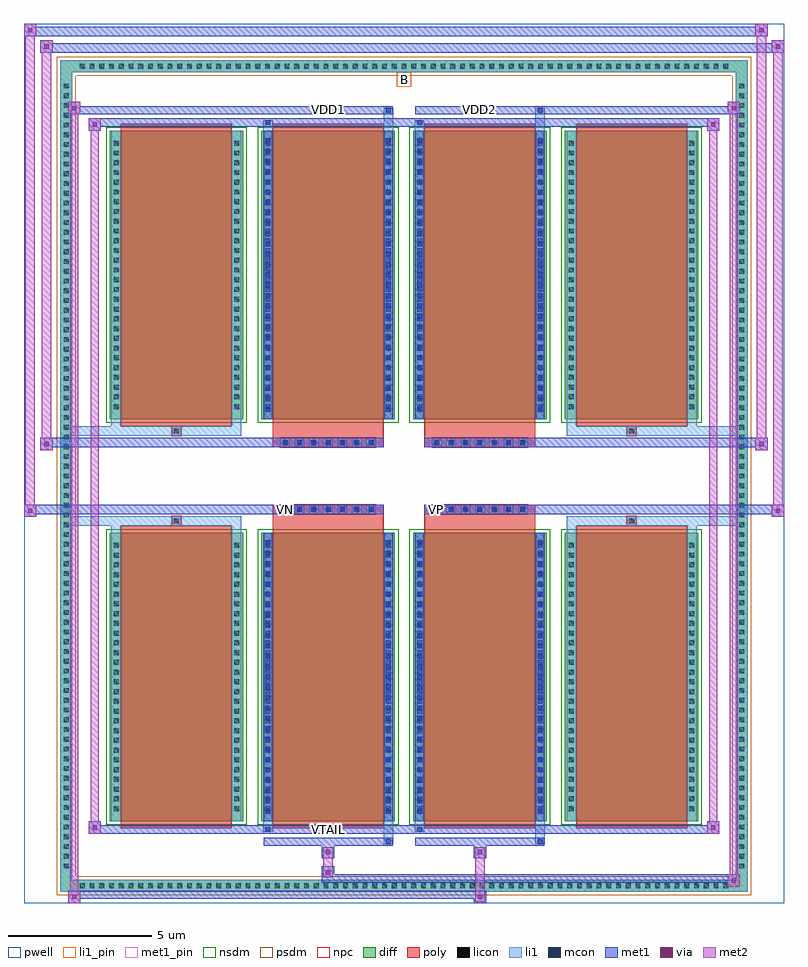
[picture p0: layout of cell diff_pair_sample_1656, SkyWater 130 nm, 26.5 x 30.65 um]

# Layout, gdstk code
import gdstk
lib = gdstk.Library(unit=1e-6, precision=5e-09)
def R(c, l, rs):  # rectangles x0, y0, x1, y1
    for r in rs: c.add(gdstk.rectangle(r[:2], r[2:], *l))
def A(c, l, x, y, w, h, nx, ny, dx, dy):  # array of equal rectangles
    R(c, l, [(x+i*dx, y+j*dy, x+i*dx+w, y+j*dy+h) for i in range(nx) for j in range(ny)])
def P(c, l, *ps):  # polygons
    for p in ps: c.add(gdstk.Polygon(p, *l))
pwell = (64, 44)
diff = (65, 20)
poly = (66, 20)
licon = (66, 44)
li1_pin = (67, 16)
li1 = (67, 20)
mcon = (67, 44)
met1_pin = (68, 16)
met1 = (68, 20)
via = (68, 44)
met2 = (69, 20)
nsdm = (93, 44)
psdm = (94, 20)
npc = (95, 20)

diff_pair_sample_1656 = lib.new_cell('diff_pair_sample_1656')
R(diff_pair_sample_1656, pwell, [(-13.25,-14.89,13.25,15.76), (-10.57,-13.08,-0.01,-0.8), (0.01,-13.08,10.57,-0.8), (-10.57,0.8,-0.01,13.08), (0.01,0.8,10.57,13.08)])
A(diff_pair_sample_1656, diff, -11.425, -14.49, 0.41, 0.41, 67, 2, 0.34, 28.57)
A(diff_pair_sample_1656, diff, -11.98, -13.805, 0.41, 0.41, 1, 81, 0, 0.34)
A(diff_pair_sample_1656, diff, 11.57, -13.805, 0.41, 0.41, 1, 81, 0, 0.34)
A(diff_pair_sample_1656, diff, -10.26, -12.035, 4.65, 10.05, 4, 2, 5.29, 14.02)
R(diff_pair_sample_1656, diff, [(-11.425,-14.49,11.425,-14.08), (-11.98,-13.805,-11.57,13.805), (11.57,-13.805,11.98,13.805), (-11.425,14.08,11.425,14.49)])
P(diff_pair_sample_1656, diff, [(11.98,14.49),(-11.98,14.49),(-11.98,-14.08),(-11.57,-14.08),(-11.57,14.08),(11.57,14.08),(11.57,-14.08),(-11.57,-14.08),(-11.98,-14.08),(-11.98,-14.49),(11.98,-14.49)])
A(diff_pair_sample_1656, poly, -9.87, -12.285, 3.87, 10.55, 4, 2, 5.29, 14.02)
A(diff_pair_sample_1656, poly, -4.31, -1.33, 0.33, 0.33, 7, 2, 0.5, 2.33)
A(diff_pair_sample_1656, poly, 0.98, -1.33, 0.33, 0.33, 7, 2, 0.5, 2.33)
R(diff_pair_sample_1656, poly, [(-8.1,-1.735,-7.77,-1.405), (-8.1,-1.735,-7.77,-1.405), (-4.58,-1.735,-0.71,-1.33), (0.71,-1.735,4.58,-1.33), (7.77,-1.735,8.1,-1.405), (7.77,-1.735,8.1,-1.405), (-4.58,-1.33,-0.71,-1), (0.71,-1.33,4.58,-1), (-4.58,1,-0.71,1.33), (0.71,1,4.58,1.33), (-4.58,1.33,-0.71,1.735), (0.71,1.33,4.58,1.735), (-8.1,1.405,-7.77,1.735), (-8.1,1.405,-7.77,1.735), (7.77,1.405,8.1,1.735), (7.77,1.405,8.1,1.735)])
A(diff_pair_sample_1656, licon, -11.305, -14.37, 0.17, 0.17, 67, 2, 0.34, 28.57)
A(diff_pair_sample_1656, licon, -11.86, -13.685, 0.17, 0.17, 1, 81, 0, 0.34)
A(diff_pair_sample_1656, licon, 11.69, -13.685, 0.17, 0.17, 1, 81, 0, 0.34)
A(diff_pair_sample_1656, licon, -10.12, -11.685, 0.17, 0.17, 1, 28, 0, 0.34)
A(diff_pair_sample_1656, licon, -5.92, -11.685, 0.17, 0.17, 1, 28, 0, 0.34)
A(diff_pair_sample_1656, licon, -4.83, -11.685, 0.17, 0.17, 1, 28, 0, 0.34)
A(diff_pair_sample_1656, licon, -0.63, -11.685, 0.17, 0.17, 1, 28, 0, 0.34)
A(diff_pair_sample_1656, licon, 0.46, -11.685, 0.17, 0.17, 1, 28, 0, 0.34)
A(diff_pair_sample_1656, licon, 4.66, -11.685, 0.17, 0.17, 1, 28, 0, 0.34)
A(diff_pair_sample_1656, licon, 5.75, -11.685, 0.17, 0.17, 1, 28, 0, 0.34)
A(diff_pair_sample_1656, licon, 9.95, -11.685, 0.17, 0.17, 1, 28, 0, 0.34)
A(diff_pair_sample_1656, licon, -4.23, -1.25, 0.17, 0.17, 7, 2, 0.5, 2.33)
A(diff_pair_sample_1656, licon, 1.06, -1.25, 0.17, 0.17, 7, 2, 0.5, 2.33)
A(diff_pair_sample_1656, licon, -10.12, 2.335, 0.17, 0.17, 1, 28, 0, 0.34)
A(diff_pair_sample_1656, licon, -5.92, 2.335, 0.17, 0.17, 1, 28, 0, 0.34)
A(diff_pair_sample_1656, licon, -4.83, 2.335, 0.17, 0.17, 1, 28, 0, 0.34)
A(diff_pair_sample_1656, licon, -0.63, 2.335, 0.17, 0.17, 1, 28, 0, 0.34)
A(diff_pair_sample_1656, licon, 0.46, 2.335, 0.17, 0.17, 1, 28, 0, 0.34)
A(diff_pair_sample_1656, licon, 4.66, 2.335, 0.17, 0.17, 1, 28, 0, 0.34)
A(diff_pair_sample_1656, licon, 5.75, 2.335, 0.17, 0.17, 1, 28, 0, 0.34)
A(diff_pair_sample_1656, licon, 9.95, 2.335, 0.17, 0.17, 1, 28, 0, 0.34)
R(diff_pair_sample_1656, licon, [(-8.02,-1.655,-7.85,-1.485), (7.85,-1.655,8.02,-1.485), (-8.02,1.485,-7.85,1.655), (7.85,1.485,8.02,1.655)])
R(diff_pair_sample_1656, li1_pin, [(-0.25,13.58,0.25,14.08)])
A(diff_pair_sample_1656, li1, -11.385, -14.45, 0.33, 0.33, 67, 2, 0.34, 28.57)
A(diff_pair_sample_1656, li1, -11.94, -13.765, 0.33, 0.33, 1, 81, 0, 0.34)
A(diff_pair_sample_1656, li1, 11.61, -13.765, 0.33, 0.33, 1, 81, 0, 0.34)
A(diff_pair_sample_1656, li1, -4.83, -11.775, 0.17, 0.17, 1, 27, 0, 0.36)
A(diff_pair_sample_1656, li1, -0.63, -11.775, 0.17, 0.17, 1, 27, 0, 0.36)
A(diff_pair_sample_1656, li1, 0.46, -11.775, 0.17, 0.17, 1, 27, 0, 0.36)
A(diff_pair_sample_1656, li1, 4.66, -11.775, 0.17, 0.17, 1, 27, 0, 0.36)
A(diff_pair_sample_1656, li1, -10.2, -11.765, 0.33, 0.33, 1, 28, 0, 0.34)
A(diff_pair_sample_1656, li1, -6, -11.765, 0.33, 0.33, 1, 28, 0, 0.34)
A(diff_pair_sample_1656, li1, -4.91, -11.765, 0.33, 0.33, 1, 28, 0, 0.34)
A(diff_pair_sample_1656, li1, -0.71, -11.765, 0.33, 0.33, 1, 28, 0, 0.34)
A(diff_pair_sample_1656, li1, 0.38, -11.765, 0.33, 0.33, 1, 28, 0, 0.34)
A(diff_pair_sample_1656, li1, 4.58, -11.765, 0.33, 0.33, 1, 28, 0, 0.34)
A(diff_pair_sample_1656, li1, 5.67, -11.765, 0.33, 0.33, 1, 28, 0, 0.34)
A(diff_pair_sample_1656, li1, 9.87, -11.765, 0.33, 0.33, 1, 28, 0, 0.34)
A(diff_pair_sample_1656, li1, -4.31, -1.33, 0.33, 0.33, 7, 2, 0.5, 2.33)
A(diff_pair_sample_1656, li1, 0.98, -1.33, 0.33, 0.33, 7, 2, 0.5, 2.33)
A(diff_pair_sample_1656, li1, -4.83, 2.245, 0.17, 0.17, 1, 27, 0, 0.36)
A(diff_pair_sample_1656, li1, -0.63, 2.245, 0.17, 0.17, 1, 27, 0, 0.36)
A(diff_pair_sample_1656, li1, 0.46, 2.245, 0.17, 0.17, 1, 27, 0, 0.36)
A(diff_pair_sample_1656, li1, 4.66, 2.245, 0.17, 0.17, 1, 27, 0, 0.36)
A(diff_pair_sample_1656, li1, -10.2, 2.255, 0.33, 0.33, 1, 28, 0, 0.34)
A(diff_pair_sample_1656, li1, -6, 2.255, 0.33, 0.33, 1, 28, 0, 0.34)
A(diff_pair_sample_1656, li1, -4.91, 2.255, 0.33, 0.33, 1, 28, 0, 0.34)
A(diff_pair_sample_1656, li1, -0.71, 2.255, 0.33, 0.33, 1, 28, 0, 0.34)
A(diff_pair_sample_1656, li1, 0.38, 2.255, 0.33, 0.33, 1, 28, 0, 0.34)
A(diff_pair_sample_1656, li1, 4.58, 2.255, 0.33, 0.33, 1, 28, 0, 0.34)
A(diff_pair_sample_1656, li1, 5.67, 2.255, 0.33, 0.33, 1, 28, 0, 0.34)
A(diff_pair_sample_1656, li1, 9.87, 2.255, 0.33, 0.33, 1, 28, 0, 0.34)
R(diff_pair_sample_1656, li1, [(-11.98,-14.49,-11.57,-14.08), (-11.98,-14.49,-11.57,-14.08), (-11.57,-14.49,11.57,-14.08), (11.57,-14.49,11.98,-14.08), (11.57,-14.49,11.98,-14.08), (-11.98,-14.08,-11.57,14.08), (11.57,-14.08,11.98,14.08), (-0.71,-12.84,-0.38,-12.035), (-0.63,-12.84,-0.46,-12.67), (4.58,-12.84,4.91,-12.035), (4.66,-12.84,4.83,-12.67), (-4.91,-12.41,-4.58,-12.035), (-4.83,-12.41,-4.66,-12.24), (0.38,-12.41,0.71,-12.035), (0.46,-12.41,0.63,-12.24), (-10.2,-12.035,-9.87,-1.985), (-6,-12.035,-5.67,-1.985), (-4.91,-12.035,-4.58,-1.985), (-0.71,-12.035,-0.38,-1.985), (0.38,-12.035,0.71,-1.985), (4.58,-12.035,4.91,-1.985), (5.67,-12.035,6,-1.985), (9.87,-12.035,10.2,-1.985), (-4.83,-11.775,-4.66,-2.245), (-0.63,-11.775,-0.46,-2.245), (0.46,-11.775,0.63,-2.245), (4.66,-11.775,4.83,-2.245), (-10.2,-1.985,-9.87,-1.405), (-6,-1.985,-5.67,-1.405), (5.67,-1.985,6,-1.405), (9.87,-1.985,10.2,-1.405), (-11.98,-1.735,-8.1,-1.405), (-10.2,-1.735,-8.1,-1.405), (-8.1,-1.735,-7.77,-1.405), (-7.77,-1.735,-5.67,-1.405), (5.67,-1.735,7.77,-1.405), (7.77,-1.735,8.1,-1.405), (7.77,-1.735,11.98,-1.405), (8.1,-1.735,10.2,-1.405), (-11.98,1.405,-8.1,1.735), (-10.2,1.405,-8.1,1.735), (-10.2,1.405,-9.87,1.985), (-8.1,1.405,-7.77,1.735), (-7.77,1.405,-5.67,1.735), (-6,1.405,-5.67,1.985), (5.67,1.405,7.77,1.735), (5.67,1.405,6,1.985), (7.77,1.405,8.1,1.735), (7.77,1.405,11.98,1.735), (8.1,1.405,10.2,1.735), (9.87,1.405,10.2,1.985), (-10.2,1.985,-9.87,12.035), (-6,1.985,-5.67,12.035), (-4.91,1.985,-4.58,12.035), (-0.71,1.985,-0.38,12.035), (0.38,1.985,0.71,12.035), (4.58,1.985,4.91,12.035), (5.67,1.985,6,12.035), (9.87,1.985,10.2,12.035), (-4.83,2.245,-4.66,11.775), (-0.63,2.245,-0.46,11.775), (0.46,2.245,0.63,11.775), (4.66,2.245,4.83,11.775), (-4.91,12.035,-4.58,12.41), (-0.71,12.035,-0.38,12.84), (0.38,12.035,0.71,12.41), (4.58,12.035,4.91,12.84), (-4.83,12.24,-4.66,12.41), (0.46,12.24,0.63,12.41), (-0.63,12.67,-0.46,12.84), (4.66,12.67,4.83,12.84), (-11.98,14.08,-11.57,14.49), (-11.98,14.08,-11.57,14.49), (-11.57,14.08,11.57,14.49), (11.57,14.08,11.98,14.49), (11.57,14.08,11.98,14.49)])
A(diff_pair_sample_1656, mcon, -4.83, -11.775, 0.17, 0.17, 1, 27, 0, 0.36)
A(diff_pair_sample_1656, mcon, -0.63, -11.775, 0.17, 0.17, 1, 27, 0, 0.36)
A(diff_pair_sample_1656, mcon, 0.46, -11.775, 0.17, 0.17, 1, 27, 0, 0.36)
A(diff_pair_sample_1656, mcon, 4.66, -11.775, 0.17, 0.17, 1, 27, 0, 0.36)
A(diff_pair_sample_1656, mcon, -4.23, -1.25, 0.17, 0.17, 7, 2, 0.5, 2.33)
A(diff_pair_sample_1656, mcon, 1.06, -1.25, 0.17, 0.17, 7, 2, 0.5, 2.33)
A(diff_pair_sample_1656, mcon, -4.83, 2.245, 0.17, 0.17, 1, 27, 0, 0.36)
A(diff_pair_sample_1656, mcon, -0.63, 2.245, 0.17, 0.17, 1, 27, 0, 0.36)
A(diff_pair_sample_1656, mcon, 0.46, 2.245, 0.17, 0.17, 1, 27, 0, 0.36)
A(diff_pair_sample_1656, mcon, 4.66, 2.245, 0.17, 0.17, 1, 27, 0, 0.36)
R(diff_pair_sample_1656, mcon, [(-0.63,-12.84,-0.46,-12.67), (4.66,-12.84,4.83,-12.67), (-4.83,-12.41,-4.66,-12.24), (0.46,-12.41,0.63,-12.24), (-4.83,12.24,-4.66,12.41), (0.46,12.24,0.63,12.41), (-0.63,12.67,-0.46,12.84), (4.66,12.67,4.83,12.84)])
R(diff_pair_sample_1656, met1_pin, [(-2.78,-12.45,-2.51,-12.18), (-4.28,-1.29,-4.01,-1.02), (1.01,-1.29,1.28,-1.02), (-2.78,12.63,-2.51,12.9), (2.51,12.63,2.78,12.9)])
A(diff_pair_sample_1656, met1, -4.89, -11.835, 0.29, 0.29, 1, 27, 0, 0.36)
A(diff_pair_sample_1656, met1, -0.69, -11.835, 0.29, 0.29, 1, 27, 0, 0.36)
A(diff_pair_sample_1656, met1, 0.4, -11.835, 0.29, 0.29, 1, 27, 0, 0.36)
A(diff_pair_sample_1656, met1, 4.6, -11.835, 0.29, 0.29, 1, 27, 0, 0.36)
A(diff_pair_sample_1656, met1, -4.29, -1.31, 0.29, 0.29, 7, 2, 0.5, 2.33)
A(diff_pair_sample_1656, met1, 1, -1.31, 0.29, 0.29, 7, 2, 0.5, 2.33)
A(diff_pair_sample_1656, met1, -4.89, 2.185, 0.29, 0.29, 1, 27, 0, 0.36)
A(diff_pair_sample_1656, met1, -0.69, 2.185, 0.29, 0.29, 1, 27, 0, 0.36)
A(diff_pair_sample_1656, met1, 0.4, 2.185, 0.29, 0.29, 1, 27, 0, 0.36)
A(diff_pair_sample_1656, met1, 4.6, 2.185, 0.29, 0.29, 1, 27, 0, 0.36)
R(diff_pair_sample_1656, met1, [(-11.71,-14.89,-11.28,-14.46), (2.43,-14.89,2.86,-14.46), (-11.71,-14.75,2.86,-14.46), (11.28,-14.32,11.71,-13.89), (-2.86,-14.18,11.71,-13.89), (-2.86,-14.04,-2.43,-13.61), (-2.86,-13.33,-2.43,-12.9), (2.43,-13.33,2.86,-12.9), (-4.89,-12.9,-0.4,-12.61), (-0.69,-12.9,-0.4,-12.61), (0.4,-12.9,4.89,-12.61), (4.6,-12.9,4.89,-12.61), (-11,-12.47,-10.57,-12.04), (-11,-12.47,-4.89,-12.18), (-4.89,-12.47,-4.6,-12.18), (-4.89,-12.47,-0.4,-12.18), (-0.4,-12.47,0.4,-12.18), (0.4,-12.47,0.69,-12.18), (0.4,-12.47,4.89,-12.18), (4.89,-12.47,11,-12.18), (10.57,-12.47,11,-12.04), (-4.89,-12.035,-4.6,-1.985), (-0.69,-12.035,-0.4,-1.985), (0.4,-12.035,0.69,-1.985), (4.6,-12.035,4.89,-1.985), (-13.25,-1.43,-12.82,-1), (12.82,-1.43,13.25,-1), (-13.25,-1.33,-0.71,-1), (-4.58,-1.33,-0.71,-1), (0.71,-1.33,4.58,-1), (0.71,-1.33,13.25,-1), (-12.68,0.9,-12.25,1.33), (12.25,0.9,12.68,1.33), (-12.68,1,-4.58,1.33), (-4.58,1,-0.71,1.33), (0.71,1,4.58,1.33), (4.58,1,12.68,1.33), (-4.89,1.985,-4.6,12.035), (-0.69,1.985,-0.4,12.035), (0.4,1.985,0.69,12.035), (4.6,1.985,4.89,12.035), (-11,12.04,-10.57,12.47), (10.57,12.04,11,12.47), (-11,12.18,-4.89,12.47), (-4.89,12.18,-4.6,12.47), (-4.89,12.18,-0.4,12.47), (-0.4,12.18,0.4,12.47), (0.4,12.18,0.69,12.47), (0.4,12.18,4.89,12.47), (4.89,12.18,11,12.47), (-11.71,12.61,-11.28,13.04), (-11.71,12.61,-4.89,12.9), (-4.89,12.61,-0.4,12.9), (-0.69,12.61,-0.4,12.9), (0.4,12.61,4.89,12.9), (4.6,12.61,4.89,12.9), (4.89,12.61,11.71,12.9), (11.28,12.61,11.71,13.04), (-12.68,14.76,-12.25,15.19), (-12.68,14.76,-10.57,15.09), (-10.57,14.76,10.57,15.09), (10.57,14.76,13.25,15.09), (12.82,14.76,13.25,15.19), (-13.25,15.33,-12.82,15.76), (-13.25,15.33,-10.57,15.66), (-10.57,15.33,10.57,15.66), (10.57,15.33,12.68,15.66), (12.25,15.33,12.68,15.76)])
R(diff_pair_sample_1656, via, [(-11.57,-14.75,-11.42,-14.6), (2.57,-14.75,2.72,-14.6), (11.42,-14.18,11.57,-14.03), (-2.72,-13.9,-2.57,-13.75), (-2.72,-13.19,-2.57,-13.04), (2.57,-13.19,2.72,-13.04), (-10.86,-12.33,-10.71,-12.18), (10.71,-12.33,10.86,-12.18), (-13.11,-1.29,-12.96,-1.14), (12.96,-1.29,13.11,-1.14), (-12.54,1.04,-12.39,1.19), (12.39,1.04,12.54,1.19), (-10.86,12.18,-10.71,12.33), (10.71,12.18,10.86,12.33), (-11.57,12.75,-11.42,12.9), (11.42,12.75,11.57,12.9), (-12.54,14.9,-12.39,15.05), (12.96,14.9,13.11,15.05), (-13.11,15.47,-12.96,15.62), (12.39,15.47,12.54,15.62)])
R(diff_pair_sample_1656, met2, [(-11.71,-14.89,-11.28,-14.46), (-11.64,-14.89,-11.35,13.04), (-11.35,-14.89,-11.28,-14.46), (-11.66,-14.84,-11.33,-14.51), (2.48,-14.84,2.81,-14.51), (2.48,-14.51,2.81,-13.28), (11.28,-14.32,11.71,-13.89), (11.35,-14.32,11.64,13.04), (11.64,-14.32,11.71,-13.89), (11.33,-14.27,11.66,-13.94), (-2.81,-13.99,-2.48,-13.66), (-2.81,-13.66,-2.48,-13.28), (-2.81,-13.28,-2.48,-12.95), (2.48,-13.28,2.81,-12.95), (-11,-12.47,-10.57,-12.04), (-10.93,-12.47,-10.64,12.47), (-10.64,-12.47,-10.57,-12.04), (10.57,-12.47,11,-12.04), (10.64,-12.47,10.93,12.47), (10.93,-12.47,11,-12.04), (-10.95,-12.42,-10.62,-12.09), (10.62,-12.42,10.95,-12.09), (-13.25,-1.43,-12.82,-1), (-13.2,-1.43,-12.87,15.76), (-12.87,-1.43,-12.82,-1), (12.82,-1.43,13.25,-1), (12.87,-1.43,13.2,15.19), (13.2,-1.43,13.25,-1), (-13.2,-1.38,-12.87,-1.05), (12.87,-1.38,13.2,-1.05), (-12.68,0.9,-12.25,1.33), (-12.63,0.9,-12.3,15.19), (-12.3,0.9,-12.25,1.33), (12.25,0.9,12.68,1.33), (12.3,0.9,12.63,15.76), (12.63,0.9,12.68,1.33), (-12.63,0.95,-12.3,1.28), (12.3,0.95,12.63,1.28), (-11,12.04,-10.57,12.47), (-10.64,12.04,-10.57,12.47), (10.57,12.04,11,12.47), (10.93,12.04,11,12.47), (-10.95,12.09,-10.62,12.42), (10.62,12.09,10.95,12.42), (-11.71,12.61,-11.28,13.04), (-11.35,12.61,-11.28,13.04), (11.28,12.61,11.71,13.04), (11.64,12.61,11.71,13.04), (-11.66,12.66,-11.33,12.99), (11.33,12.66,11.66,12.99), (-12.68,14.76,-12.25,15.19), (-12.3,14.76,-12.25,15.19), (12.82,14.76,13.25,15.19), (13.2,14.76,13.25,15.19), (-12.63,14.81,-12.3,15.14), (12.87,14.81,13.2,15.14), (-13.25,15.33,-12.82,15.76), (-12.87,15.33,-12.82,15.76), (12.25,15.33,12.68,15.76), (12.63,15.33,12.68,15.76), (-13.2,15.38,-12.87,15.71), (12.3,15.38,12.63,15.71)])
A(diff_pair_sample_1656, nsdm, -10.39, -12.165, 4.91, 10.31, 4, 2, 5.29, 14.02)
P(diff_pair_sample_1656, psdm, [(12.11,14.62),(-12.11,14.62),(-12.11,-13.95),(-11.44,-13.95),(-11.44,13.95),(11.44,13.95),(11.44,-13.95),(-11.44,-13.95),(-12.11,-13.95),(-12.11,-14.62),(12.11,-14.62)])
A(diff_pair_sample_1656, npc, -4.33, -1.35, 0.37, 0.37, 7, 2, 0.5, 2.33)
A(diff_pair_sample_1656, npc, 0.96, -1.35, 0.37, 0.37, 7, 2, 0.5, 2.33)
R(diff_pair_sample_1656, npc, [(-8.12,-1.755,-7.75,-1.385), (7.75,-1.755,8.12,-1.385), (-4.33,-1.35,-3.46,-0.98), (-4.33,-1.35,-3.46,-0.98), (-3.83,-1.35,-2.96,-0.98), (-3.83,-1.35,-2.96,-0.98), (-3.33,-1.35,-2.46,-0.98), (-3.33,-1.35,-2.46,-0.98), (-2.83,-1.35,-1.96,-0.98), (-2.83,-1.35,-1.96,-0.98), (-2.33,-1.35,-1.46,-0.98), (-2.33,-1.35,-1.46,-0.98), (-1.83,-1.35,-0.96,-0.98), (-1.83,-1.35,-0.96,-0.98), (0.96,-1.35,1.83,-0.98), (0.96,-1.35,1.83,-0.98), (1.46,-1.35,2.33,-0.98), (1.46,-1.35,2.33,-0.98), (1.96,-1.35,2.83,-0.98), (1.96,-1.35,2.83,-0.98), (2.46,-1.35,3.33,-0.98), (2.46,-1.35,3.33,-0.98), (2.96,-1.35,3.83,-0.98), (2.96,-1.35,3.83,-0.98), (3.46,-1.35,4.33,-0.98), (3.46,-1.35,4.33,-0.98), (-4.33,0.98,-3.46,1.35), (-4.33,0.98,-3.46,1.35), (-3.83,0.98,-2.96,1.35), (-3.83,0.98,-2.96,1.35), (-3.33,0.98,-2.46,1.35), (-3.33,0.98,-2.46,1.35), (-2.83,0.98,-1.96,1.35), (-2.83,0.98,-1.96,1.35), (-2.33,0.98,-1.46,1.35), (-2.33,0.98,-1.46,1.35), (-1.83,0.98,-0.96,1.35), (-1.83,0.98,-0.96,1.35), (0.96,0.98,1.83,1.35), (0.96,0.98,1.83,1.35), (1.46,0.98,2.33,1.35), (1.46,0.98,2.33,1.35), (1.96,0.98,2.83,1.35), (1.96,0.98,2.83,1.35), (2.46,0.98,3.33,1.35), (2.46,0.98,3.33,1.35), (2.96,0.98,3.83,1.35), (2.96,0.98,3.83,1.35), (3.46,0.98,4.33,1.35), (3.46,0.98,4.33,1.35), (-8.12,1.385,-7.75,1.755), (7.75,1.385,8.12,1.755)])
diff_pair_sample_1656.add(gdstk.Label('VTAIL', (-2.645,-12.315), layer=68, texttype=5))
diff_pair_sample_1656.add(gdstk.Label('VN', (-4.145,-1.155), layer=68, texttype=5))
diff_pair_sample_1656.add(gdstk.Label('VP', (1.145,-1.155), layer=68, texttype=5))
diff_pair_sample_1656.add(gdstk.Label('B', (0,13.83), layer=67, texttype=5))
diff_pair_sample_1656.add(gdstk.Label('VDD2', (2.645,12.765), layer=68, texttype=5))
diff_pair_sample_1656.add(gdstk.Label('VDD1', (-2.645,12.765), layer=68, texttype=5))

lib.write_gds('diff_pair_sample_1656.gds')
